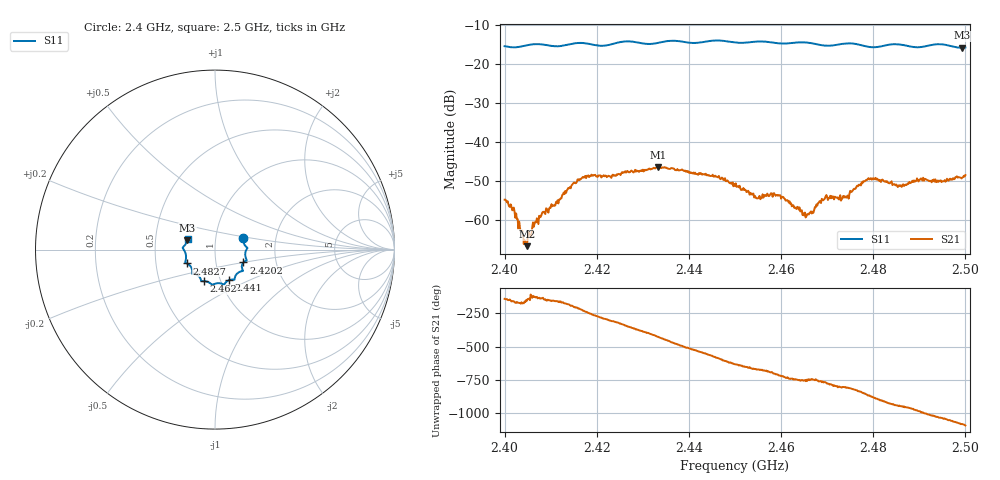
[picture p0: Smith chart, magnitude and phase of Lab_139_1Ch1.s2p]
# Hz S RI R 50
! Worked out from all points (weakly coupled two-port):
!   601 points, 2.4 GHz to 2.5 GHz, reference 50 ohm
!   highest |S21| = -46.37 dB at 2.4333 GHz (marker M1); lowest = -66.6 dB at 2.4048 GHz (marker M2)
!   lowest |S11| = -15.8 dB at 2.4993 GHz (marker M3), VSWR 1.39, Z = 36.5 + j3.87 ohm
!   |S11| at or under -10 dB: start of sweep to end of sweep
!   S12 and S22 are empty: the file has one direction only
!   S11 on the Smith chart (normalised r, x): 2.4 GHz: 1.36, +0.18; 2.4202 GHz: 1.36, -0.20; 2.441 GHz: 1.10, -0.39; 2.462 GHz: 0.84, -0.30; 2.4827 GHz: 0.72, -0.11; 2.5 GHz: 0.73, +0.09
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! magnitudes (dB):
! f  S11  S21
! 2.4 GHz  -15.4  -54.7
! 2.4017 GHz  -15.7  -57.4
! 2.4043 GHz  -15.3  -65.0
! 2.4048 GHz  -15.2  -66.6
! 2.408 GHz  -14.9  -58.6
! 2.4167 GHz  -14.5  -49.3
! 2.4202 GHz  -15.2  -48.9
! 2.4333 GHz  -14.5  -46.4
! 2.441 GHz  -14.6  -47.7
! 2.45 GHz  -14.4  -51.1
! 2.4547 GHz  -14.2  -54.3
! 2.4582 GHz  -14.4  -54.0
! 2.462 GHz  -14.6  -55.8
! 2.4652 GHz  -14.4  -58.0
! 2.4667 GHz  -14.6  -58.3
! 2.4693 GHz  -15.2  -54.6
! 2.4742 GHz  -14.7  -54.2
! 2.479 GHz  -15.6  -49.2
! 2.4827 GHz  -15.2  -50.0
! 2.4833 GHz  -15.0  -50.4
! 2.4993 GHz  -15.8  -49.1
! 2.5 GHz  -15.7  -48.4
